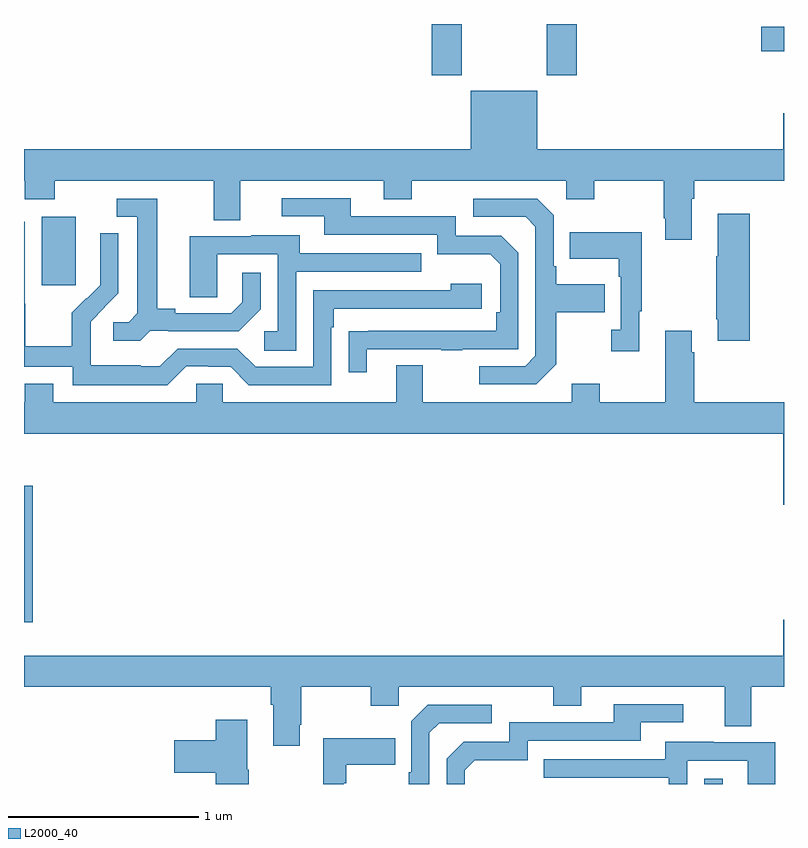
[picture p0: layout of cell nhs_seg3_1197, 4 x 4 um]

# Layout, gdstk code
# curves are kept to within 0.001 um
import gdstk
lib = gdstk.Library(unit=1e-6, precision=1e-09)
def R(c, l, rs):  # rectangles x0, y0, x1, y1
    for r in rs: c.add(gdstk.rectangle(r[:2], r[2:], *l))
def P(c, l, *ps):  # polygons
    for p in ps: c.add(gdstk.Polygon(p, *l))
L2000_40 = (2000, 40)

nhs_seg3_1197 = lib.new_cell('nhs_seg3_1197')
R(nhs_seg3_1197, L2000_40, [(176.58,704.4,176.677,704.428), (173,705.252,173.045,705.97), (173.093,707.025,173.272,707.386), (175.145,708.129,175.305,708.4), (175.75,708.129,175.91,708.4), (176.88,708.256,177,708.385)])
P(nhs_seg3_1197, L2000_40, [(176.515,707.48),(176.528,707.48),(176.528,707.576),(177,707.576),(177,707.929),(176.996,707.929),(176.996,707.74),(175.702,707.74),(175.702,708.049),(175.352,708.049),(175.352,707.74),(173,707.74),(173,707.576),(173.003,707.576),(173.003,707.477),(173.163,707.477),(173.163,707.576),(173.999,707.576),(173.999,707.368),(174.139,707.368),(174.139,707.576),(174.893,707.576),(174.893,707.477),(175.041,707.477),(175.041,707.576),(175.854,707.576),(175.854,707.477),(176.001,707.477),(176.001,707.576),(176.368,707.576),(176.368,707.377),(176.375,707.377),(176.375,707.265),(176.515,707.265)],
  [(174.805,706.689),(175.195,706.689),(175.195,706.684),(175.307,706.684),(175.307,706.689),(175.602,706.689),(175.602,707.196),(175.512,707.286),(175.272,707.286),(175.272,707.388),(174.721,707.388),(174.721,707.484),(174.357,707.484),(174.357,707.388),(174.581,707.388),(174.581,707.292),(175.176,707.292),(175.176,707.189),(175.453,707.189),(175.506,707.136),(175.506,706.882),(175.486,706.882),(175.486,706.785),(174.709,706.784),(174.709,706.566),(174.805,706.566)],
  [(173.664,706.785),(173.758,706.785),(173.758,706.782),(174.13,706.782),(174.246,706.898),(174.246,707.092),(174.149,707.092),(174.149,706.935),(174.092,706.878),(173.797,706.878),(173.797,706.901),(173.701,706.901),(173.701,707.481),(173.487,707.481),(173.487,707.385),(173.597,707.385),(173.597,706.877),(173.55,706.83),(173.469,706.83),(173.469,706.733),(173.612,706.733)],
  [(175.801,706.609),(175.801,706.882),(176.057,706.882),(176.057,707.029),(175.801,707.029),(175.801,707.125),(175.788,707.125),(175.788,707.394),(175.701,707.481),(175.365,707.481),(175.365,707.385),(175.641,707.385),(175.692,707.334),(175.692,706.653),(175.638,706.599),(175.395,706.599),(175.395,706.503),(175.695,706.503)],
  [(176.819,707.401),(176.651,707.401),(176.651,707.177),(176.644,707.177),(176.644,706.846),(176.651,706.846),(176.651,706.734),(176.819,706.734)],
  [(173.853,706.599),(173.969,706.599),(173.969,706.596),(174.087,706.596),(174.183,706.5),(174.618,706.5),(174.618,706.805),(174.631,706.805),(174.631,706.902),(175.408,706.902),(175.408,707.032),(175.247,707.032),(175.247,706.998),(174.522,706.998),(174.522,706.596),(174.219,706.596),(174.123,706.692),(173.808,706.692),(173.715,706.599),(173.615,706.599),(173.615,706.603),(173.352,706.603),(173.352,706.737),(173.35,706.737),(173.35,706.834),(173.496,706.982),(173.496,707.3),(173.4,707.3),(173.4,707.146),(173.402,707.146),(173.402,707.024),(173.331,706.953),(173.328,706.956),(173.251,706.879),(173.251,706.705),(173.007,706.705),(173.007,706.928),(173.004,706.928),(173.004,707.358),(173,707.358),(173,706.596),(173.256,706.596),(173.256,706.499),(173.753,706.499)],
  [(176.239,706.889),(176.251,706.889),(176.251,707.305),(175.873,707.305),(175.873,707.165),(176.13,707.165),(176.13,707.069),(176.142,707.069),(176.142,706.79),(176.091,706.79),(176.091,706.677),(176.239,706.677)],
  [(174.432,707.097),(175.091,707.097),(175.091,707.193),(174.451,707.193),(174.451,707.287),(174.197,707.287),(174.197,707.283),(173.873,707.283),(173.873,706.963),(174.018,706.963),(174.018,707.187),(174.336,707.187),(174.336,706.782),(174.264,706.782),(174.264,706.681),(174.432,706.681)],
  [(177,706.408),(176.528,706.408),(176.528,706.673),(176.515,706.673),(176.515,706.786),(176.375,706.786),(176.375,706.408),(176.031,706.408),(176.031,706.507),(175.883,706.507),(175.883,706.408),(175.099,706.408),(175.099,706.603),(174.959,706.603),(174.959,706.408),(174.045,706.408),(174.045,706.506),(173.907,706.506),(173.907,706.408),(173.155,706.408),(173.155,706.507),(173.003,706.507),(173.003,706.408),(173,706.408),(173,706.244),(176.996,706.244),(176.996,705.87),(177,705.87)],
  [(174.451,704.713),(174.459,704.713),(174.459,704.912),(174.826,704.912),(174.826,704.813),(174.972,704.813),(174.972,704.912),(175.786,704.912),(175.786,704.813),(175.933,704.813),(175.933,704.912),(176.687,704.912),(176.687,704.704),(176.827,704.704),(176.827,704.912),(177,704.912),(177,705.265),(176.996,705.265),(176.996,705.076),(173,705.076),(173,704.912),(174.299,704.912),(174.299,704.816),(174.311,704.816),(174.311,704.601),(174.451,704.601)],
  [(175.32,704.472),(175.373,704.525),(175.65,704.525),(175.65,704.628),(176.245,704.628),(176.245,704.724),(176.47,704.724),(176.47,704.82),(176.105,704.82),(176.105,704.724),(175.554,704.724),(175.554,704.622),(175.314,704.622),(175.224,704.532),(175.224,704.4),(175.32,704.4)],
  [(175.134,704.67),(175.185,704.721),(175.462,704.721),(175.462,704.817),(175.125,704.817),(175.038,704.73),(175.038,704.461),(175.026,704.461),(175.026,704.4),(175.134,704.4)],
  [(174.183,704.475),(174.175,704.475),(174.175,704.737),(174.008,704.737),(174.008,704.629),(173.79,704.629),(173.79,704.459),(174.008,704.459),(174.008,704.4),(174.183,704.4)],
  [(174.684,704.405),(174.697,704.405),(174.697,704.501),(174.953,704.501),(174.953,704.641),(174.576,704.641),(174.576,704.4),(174.684,704.4)],
  [(176.49,704.523),(176.808,704.523),(176.808,704.4),(176.953,704.4),(176.953,704.619),(176.629,704.619),(176.629,704.623),(176.375,704.623),(176.375,704.529),(175.735,704.529),(175.735,704.433),(176.394,704.433),(176.394,704.4),(176.49,704.4)])

lib.write_gds('nhs_seg3_1197.gds')
